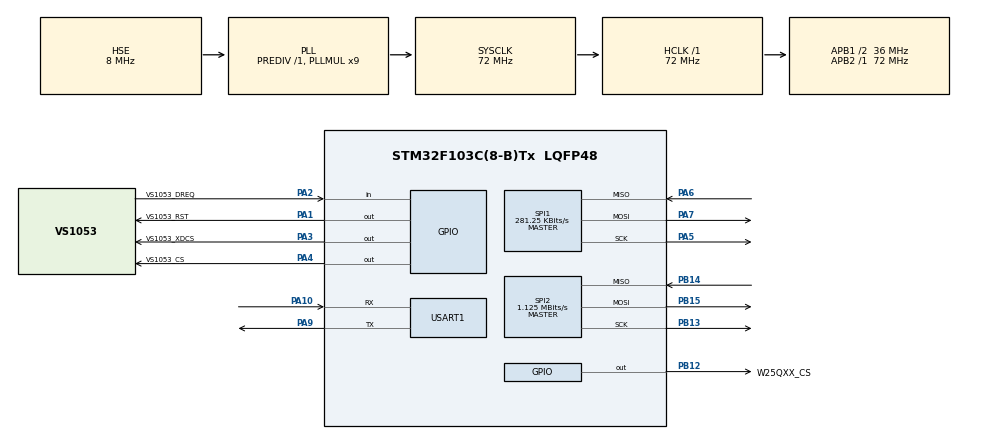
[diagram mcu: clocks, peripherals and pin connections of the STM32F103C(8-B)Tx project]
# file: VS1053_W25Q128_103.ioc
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Mcu.Family=STM32F1
Mcu.Name=STM32F103C(8-B)Tx
Mcu.Package=LQFP48
NVIC.PriorityGroup=NVIC_PRIORITYGROUP_4
NVIC.TIM4_IRQn=true\:15\:0\:false\:false\:true\:false\:true\:true
NVIC.TimeBase=TIM4_IRQn
NVIC.TimeBaseIP=TIM4
PA1.GPIO_Label=VS1053_RST
PA1.Signal=GPIO_Output
PA10.Mode=Asynchronous
PA10.Signal=USART1_RX
PA13.Mode=Serial_Wire
PA13.Signal=SYS_JTMS-SWDIO
PA14.Mode=Serial_Wire
PA14.Signal=SYS_JTCK-SWCLK
PA2.GPIO_Label=VS1053_DREQ
PA2.Signal=GPIO_Input
PA3.GPIO_Label=VS1053_XDCS
PA3.Signal=GPIO_Output
PA4.GPIO_Label=VS1053_CS
PA4.Signal=GPIO_Output
PA5.Mode=Full_Duplex_Master
PA5.Signal=SPI1_SCK
PA6.Mode=Full_Duplex_Master
PA6.Signal=SPI1_MISO
PA7.Mode=Full_Duplex_Master
PA7.Signal=SPI1_MOSI
PA9.Mode=Asynchronous
PA9.Signal=USART1_TX
PB12.GPIO_Label=W25QXX_CS
PB12.Signal=GPIO_Output
PB13.Mode=Full_Duplex_Master
PB13.Signal=SPI2_SCK
PB14.Mode=Full_Duplex_Master
PB14.Signal=SPI2_MISO
PB15.Mode=Full_Duplex_Master
PB15.Signal=SPI2_MOSI
PD0-OSC_IN.Mode=HSE-External-Oscillator
PD0-OSC_IN.Signal=RCC_OSC_IN
PD1-OSC_OUT.Mode=HSE-External-Oscillator
PD1-OSC_OUT.Signal=RCC_OSC_OUT
ProjectManager.HeapSize=0x200
ProjectManager.StackSize=0x400
ProjectManager.TargetToolchain=STM32CubeIDE
RCC.AHBFreq_Value=72000000
RCC.APB1CLKDivider=RCC_HCLK_DIV2
RCC.APB1Freq_Value=36000000
RCC.APB1TimFreq_Value=72000000
RCC.APB2Freq_Value=72000000
RCC.APB2TimFreq_Value=72000000
RCC.HCLKFreq_Value=72000000
RCC.PLLMUL=RCC_PLL_MUL9
RCC.PLLSourceVirtual=RCC_PLLSOURCE_HSE
RCC.SYSCLKFreq_VALUE=72000000
RCC.SYSCLKSource=RCC_SYSCLKSOURCE_PLLCLK
RCC.USBFreq_Value=72000000
SPI1.BaudRatePrescaler=SPI_BAUDRATEPRESCALER_256
SPI1.CLKPhase=SPI_PHASE_2EDGE
SPI1.CLKPolarity=SPI_POLARITY_HIGH
SPI1.CalculateBaudRate=281.25 KBits/s
SPI1.Direction=SPI_DIRECTION_2LINES
SPI1.Mode=SPI_MODE_MASTER
SPI1.VirtualType=VM_MASTER
SPI2.BaudRatePrescaler=SPI_BAUDRATEPRESCALER_32
SPI2.CLKPhase=SPI_PHASE_2EDGE
SPI2.CLKPolarity=SPI_POLARITY_HIGH
SPI2.CalculateBaudRate=1.125 MBits/s
SPI2.Direction=SPI_DIRECTION_2LINES
SPI2.Mode=SPI_MODE_MASTER
SPI2.VirtualType=VM_MASTER
USART1.VirtualMode=VM_ASYNC
VP_SYS_VS_tim4.Mode=TIM4
board=custom

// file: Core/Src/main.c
/* USER CODE BEGIN Header */
/**
  ******************************************************************************
  * @file           : main.c
  * @brief          : Main program body
  ******************************************************************************
  * @attention
  *
  * Copyright (c) 2023 STMicroelectronics.
  * All rights reserved.
  *
  * This software is licensed under terms that can be found in the LICENSE file
  * in the root directory of this software component.
  * If no LICENSE file comes with this software, it is provided AS-IS.
  *
  ******************************************************************************
  */
/* USER CODE END Header */
#include "main.h"

/* USER CODE BEGIN Includes */
#include "w25q128.h"
#include "vs1053_ini.h"
#include <stdio.h>/* для printf */
/* USER CODE END Includes */

SPI_HandleTypeDef hspi1;
SPI_HandleTypeDef hspi2;

UART_HandleTypeDef huart1;

/* USER CODE BEGIN PV */
uint8_t music_buf[256];
uint8_t id_flash;
uint32_t addr_pointer = 0;
uint8_t page_pointer = 0;
bool next_page_flag = true;
uint32_t song_and_addr = 0x36E940; //3598656+8 //конец песни
/* USER CODE END PV */

void SystemClock_Config(void);
static void MX_GPIO_Init(void);
static void MX_SPI1_Init(void);
static void MX_SPI2_Init(void);
static void MX_USART1_UART_Init(void);
/* USER CODE BEGIN PFP */
int _write(int file, char *ptr, int len) {
	int i;
	HAL_UART_Transmit(&huart1, (uint8_t*) ptr, len, 50);
	for (i = 0; i < len; i++) {
		ITM_SendChar(*ptr++);
	}
	return len;
}
/* USER CODE END PFP */

int main(void)
{

  /* MCU Configuration--------------------------------------------------------*/

  /* Reset of all peripherals, Initializes the Flash interface and the Systick. */
  HAL_Init();

  /* Configure the system clock */
  SystemClock_Config();

  /* Initialize all configured peripherals */
  MX_GPIO_Init();
  MX_SPI1_Init();
  MX_SPI2_Init();
  MX_USART1_UART_Init();
  /* USER CODE BEGIN 2 */
	SPI1->CR1 |= SPI_CR1_SPE; //SPI1_ON )
	SPI2->CR1 |= SPI_CR1_SPE; //SPI2_ON )
	vs1053_init();
	vs1053_reset();
	flash_reset();
	if (get_flash_id())
	printf("Hello world! \r\n");
  /* USER CODE END 2 */

  /* Infinite loop */
  while (1)
  {

    /* USER CODE BEGIN 3 */
	while (!vs1053_isDataReq()) { // DREQ == 0 - ждать
		//делаем что-то полезное))
	}
	while (vs1053_isDataReq())	// DREQ == 1 - посылать данные
	{
		if (next_page_flag) {
			HAL_GPIO_WritePin( GPIOC, GPIO_PIN_13, GPIO_PIN_SET);
			flash_read_page(music_buf, addr_pointer, 255);//0-255 //1 страница = 256 байт,1 сектор = 256 сраниц
			page_pointer = 0;
			addr_pointer += 256;	//следующая 1 страница 256 байт
			next_page_flag = false;
			HAL_GPIO_WritePin(GPIOC, GPIO_PIN_13, GPIO_PIN_RESET);
		}
		vs1053_send32(&(music_buf[page_pointer]));	//256/32=8
		if (page_pointer < 193)
			page_pointer += 32;
		else {
			next_page_flag = true;
			if (addr_pointer > song_and_addr) {
				addr_pointer = 0;
				while (1) {
					HAL_Delay(500);
					HAL_GPIO_WritePin( GPIOC, GPIO_PIN_13,GPIO_PIN_SET);
					HAL_Delay(500);
					HAL_GPIO_WritePin(GPIOC, GPIO_PIN_13,GPIO_PIN_RESET);
				}
			}
		}
	}
}
  /* USER CODE END 3 */
}

void SystemClock_Config(void)
{
  RCC_OscInitTypeDef RCC_OscInitStruct = {0};
  RCC_ClkInitTypeDef RCC_ClkInitStruct = {0};

  /** Initializes the RCC Oscillators according to the specified parameters
  * in the RCC_OscInitTypeDef structure.
  */
  RCC_OscInitStruct.OscillatorType = RCC_OSCILLATORTYPE_HSE;
  RCC_OscInitStruct.HSEState = RCC_HSE_ON;
  RCC_OscInitStruct.HSEPredivValue = RCC_HSE_PREDIV_DIV1;
  RCC_OscInitStruct.HSIState = RCC_HSI_ON;
  RCC_OscInitStruct.PLL.PLLState = RCC_PLL_ON;
  RCC_OscInitStruct.PLL.PLLSource = RCC_PLLSOURCE_HSE;
  RCC_OscInitStruct.PLL.PLLMUL = RCC_PLL_MUL9;
  if (HAL_RCC_OscConfig(&RCC_OscInitStruct) != HAL_OK)
  {
    Error_Handler();
  }

  /** Initializes the CPU, AHB and APB buses clocks
  */
  RCC_ClkInitStruct.ClockType = RCC_CLOCKTYPE_HCLK|RCC_CLOCKTYPE_SYSCLK
                              |RCC_CLOCKTYPE_PCLK1|RCC_CLOCKTYPE_PCLK2;
  RCC_ClkInitStruct.SYSCLKSource = RCC_SYSCLKSOURCE_PLLCLK;
  RCC_ClkInitStruct.AHBCLKDivider = RCC_SYSCLK_DIV1;
  RCC_ClkInitStruct.APB1CLKDivider = RCC_HCLK_DIV2;
  RCC_ClkInitStruct.APB2CLKDivider = RCC_HCLK_DIV1;

  if (HAL_RCC_ClockConfig(&RCC_ClkInitStruct, FLASH_LATENCY_2) != HAL_OK)
  {
    Error_Handler();
  }
}

static void MX_SPI1_Init(void)
{

  /* SPI1 parameter configuration*/
  hspi1.Instance = SPI1;
  hspi1.Init.Mode = SPI_MODE_MASTER;
  hspi1.Init.Direction = SPI_DIRECTION_2LINES;
  hspi1.Init.DataSize = SPI_DATASIZE_8BIT;
  hspi1.Init.CLKPolarity = SPI_POLARITY_HIGH;
  hspi1.Init.CLKPhase = SPI_PHASE_2EDGE;
  hspi1.Init.NSS = SPI_NSS_SOFT;
  hspi1.Init.BaudRatePrescaler = SPI_BAUDRATEPRESCALER_256;
  hspi1.Init.FirstBit = SPI_FIRSTBIT_MSB;
  hspi1.Init.TIMode = SPI_TIMODE_DISABLE;
  hspi1.Init.CRCCalculation = SPI_CRCCALCULATION_DISABLE;
  hspi1.Init.CRCPolynomial = 10;
  if (HAL_SPI_Init(&hspi1) != HAL_OK)
  {
    Error_Handler();
  }

}

static void MX_SPI2_Init(void)
{

  /* SPI2 parameter configuration*/
  hspi2.Instance = SPI2;
  hspi2.Init.Mode = SPI_MODE_MASTER;
  hspi2.Init.Direction = SPI_DIRECTION_2LINES;
  hspi2.Init.DataSize = SPI_DATASIZE_8BIT;
  hspi2.Init.CLKPolarity = SPI_POLARITY_HIGH;
  hspi2.Init.CLKPhase = SPI_PHASE_2EDGE;
  hspi2.Init.NSS = SPI_NSS_SOFT;
  hspi2.Init.BaudRatePrescaler = SPI_BAUDRATEPRESCALER_32;
  hspi2.Init.FirstBit = SPI_FIRSTBIT_MSB;
  hspi2.Init.TIMode = SPI_TIMODE_DISABLE;
  hspi2.Init.CRCCalculation = SPI_CRCCALCULATION_DISABLE;
  hspi2.Init.CRCPolynomial = 10;
  if (HAL_SPI_Init(&hspi2) != HAL_OK)
  {
    Error_Handler();
  }

}

static void MX_USART1_UART_Init(void)
{

  huart1.Instance = USART1;
  huart1.Init.BaudRate = 115200;
  huart1.Init.WordLength = UART_WORDLENGTH_8B;
  huart1.Init.StopBits = UART_STOPBITS_1;
  huart1.Init.Parity = UART_PARITY_NONE;
  huart1.Init.Mode = UART_MODE_TX_RX;
  huart1.Init.HwFlowCtl = UART_HWCONTROL_NONE;
  huart1.Init.OverSampling = UART_OVERSAMPLING_16;
  if (HAL_UART_Init(&huart1) != HAL_OK)
  {
    Error_Handler();
  }

}

static void MX_GPIO_Init(void)
{
  GPIO_InitTypeDef GPIO_InitStruct = {0};

  /* GPIO Ports Clock Enable */
  __HAL_RCC_GPIOD_CLK_ENABLE();
  __HAL_RCC_GPIOA_CLK_ENABLE();
  __HAL_RCC_GPIOB_CLK_ENABLE();

  /*Configure GPIO pin Output Level */
  HAL_GPIO_WritePin(GPIOA, VS1053_RST_Pin|VS1053_XDCS_Pin|VS1053_CS_Pin, GPIO_PIN_RESET);

  /*Configure GPIO pin Output Level */
  HAL_GPIO_WritePin(W25QXX_CS_GPIO_Port, W25QXX_CS_Pin, GPIO_PIN_RESET);

  /*Configure GPIO pins : VS1053_RST_Pin VS1053_XDCS_Pin VS1053_CS_Pin */
  GPIO_InitStruct.Pin = VS1053_RST_Pin|VS1053_XDCS_Pin|VS1053_CS_Pin;
  GPIO_InitStruct.Mode = GPIO_MODE_OUTPUT_PP;
  GPIO_InitStruct.Pull = GPIO_NOPULL;
  GPIO_InitStruct.Speed = GPIO_SPEED_FREQ_LOW;
  HAL_GPIO_Init(GPIOA, &GPIO_InitStruct);

  /*Configure GPIO pin : VS1053_DREQ_Pin */
  GPIO_InitStruct.Pin = VS1053_DREQ_Pin;
  GPIO_InitStruct.Mode = GPIO_MODE_INPUT;
  GPIO_InitStruct.Pull = GPIO_NOPULL;
  HAL_GPIO_Init(VS1053_DREQ_GPIO_Port, &GPIO_InitStruct);

  /*Configure GPIO pin : W25QXX_CS_Pin */
  GPIO_InitStruct.Pin = W25QXX_CS_Pin;
  GPIO_InitStruct.Mode = GPIO_MODE_OUTPUT_PP;
  GPIO_InitStruct.Pull = GPIO_NOPULL;
  GPIO_InitStruct.Speed = GPIO_SPEED_FREQ_LOW;
  HAL_GPIO_Init(W25QXX_CS_GPIO_Port, &GPIO_InitStruct);

}

void HAL_TIM_PeriodElapsedCallback(TIM_HandleTypeDef *htim)
{
  if (htim->Instance == TIM4) {
    HAL_IncTick();
  }
}

void Error_Handler(void)
{
  __disable_irq();
  while (1)
  {
  }
}
